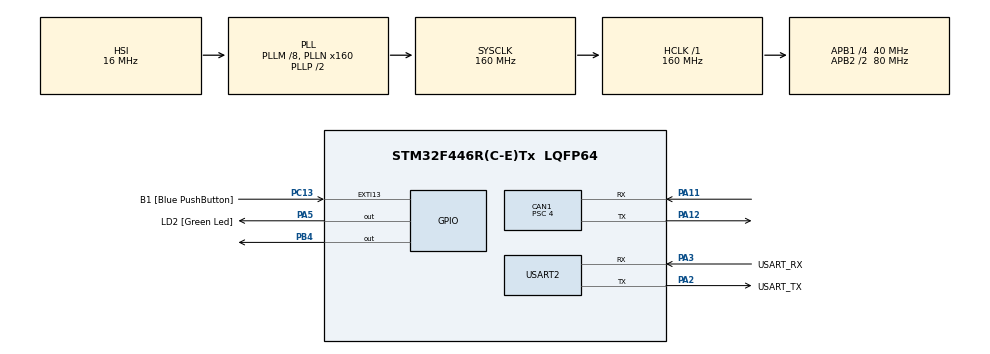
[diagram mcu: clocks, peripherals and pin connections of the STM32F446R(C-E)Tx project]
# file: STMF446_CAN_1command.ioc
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CAN1.BS1=CAN_BS1_7TQ
CAN1.BS2=CAN_BS2_2TQ
CAN1.CalculateBaudRate=1000000
CAN1.CalculateTimeBit=1000
CAN1.CalculateTimeQuantum=100.0
CAN1.Prescaler=4
Mcu.Family=STM32F4
Mcu.Name=STM32F446R(C-E)Tx
Mcu.Package=LQFP64
NVIC.CAN1_RX0_IRQn=true\:0\:0\:true\:false\:true\:true\:true\:true
NVIC.CAN1_TX_IRQn=true\:0\:0\:true\:false\:true\:true\:true\:true
NVIC.PriorityGroup=NVIC_PRIORITYGROUP_4
NVIC.USART2_IRQn=true\:0\:0\:false\:false\:true\:true\:true\:true
PA11.GPIO_Speed=GPIO_SPEED_FREQ_HIGH
PA11.Mode=CAN_Activate
PA11.Signal=CAN1_RX
PA12.GPIO_PuPd=GPIO_PULLUP
PA12.GPIO_Speed=GPIO_SPEED_FREQ_HIGH
PA12.Mode=CAN_Activate
PA12.Signal=CAN1_TX
PA13.GPIO_Label=TMS
PA13.Mode=Serial_Wire
PA13.Signal=SYS_JTMS-SWDIO
PA14.GPIO_Label=TCK
PA14.Mode=Serial_Wire
PA14.Signal=SYS_JTCK-SWCLK
PA2.GPIO_Label=USART_TX
PA2.Mode=Asynchronous
PA2.Signal=USART2_TX
PA3.GPIO_Label=USART_RX
PA3.Mode=Asynchronous
PA3.Signal=USART2_RX
PA5.GPIO_Label=LD2 [Green Led]
PA5.Signal=GPIO_Output
PB3.GPIO_Label=SWO
PB3.Signal=SYS_JTDO-SWO
PB4.Signal=GPIO_Output
PC13.GPIO_Label=B1 [Blue PushButton]
PC13.GPIO_ModeDefaultEXTI=GPIO_MODE_IT_FALLING
PC13.Signal=GPXTI13
PC14-OSC32_IN.Mode=LSE-External-Oscillator
PC14-OSC32_IN.Signal=RCC_OSC32_IN
PC15-OSC32_OUT.Mode=LSE-External-Oscillator
PC15-OSC32_OUT.Signal=RCC_OSC32_OUT
PH0-OSC_IN.Mode=HSE-External-Oscillator
PH0-OSC_IN.Signal=RCC_OSC_IN
PH1-OSC_OUT.Mode=HSE-External-Oscillator
PH1-OSC_OUT.Signal=RCC_OSC_OUT
ProjectManager.HeapSize=0x200
ProjectManager.StackSize=0x400
ProjectManager.TargetToolchain=STM32CubeIDE
RCC.48MHZClocksFreq_Value=84000000
RCC.AHBFreq_Value=160000000
RCC.APB1CLKDivider=RCC_HCLK_DIV4
RCC.APB1Freq_Value=40000000
RCC.APB1TimFreq_Value=80000000
RCC.APB2CLKDivider=RCC_HCLK_DIV2
RCC.APB2Freq_Value=80000000
RCC.APB2TimFreq_Value=160000000
RCC.CortexFreq_Value=160000000
RCC.FLatency-AdvancedSettings=FLASH_LATENCY_5
RCC.HCLKFreq_Value=160000000
RCC.HSE_VALUE=8000000
RCC.HSI_VALUE=16000000
RCC.PLLM=8
RCC.PLLN=160
RCC.SYSCLKFreq_VALUE=160000000
RCC.SYSCLKSource=RCC_SYSCLKSOURCE_PLLCLK
RCC.USBFreq_Value=160000000
RCC.VCOOutputFreq_Value=320000000
USART2.VirtualMode=VM_ASYNC
board=NUCLEO-F446RE

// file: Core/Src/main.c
/* USER CODE BEGIN Header */
/**
  ******************************************************************************
  * @file           : main.c
  * @brief          : Main program body
  ******************************************************************************
  * @attention
  *
  * Copyright (c) 2022 STMicroelectronics.
  * All rights reserved.
  *
  * This software is licensed under terms that can be found in the LICENSE file
  * in the root directory of this software component.
  * If no LICENSE file comes with this software, it is provided AS-IS.
  *
  ******************************************************************************
  */
/* USER CODE END Header */
#include "main.h"

/* USER CODE BEGIN Includes */
#include<stdio.h>
/* USER CODE END Includes */

 CAN_HandleTypeDef hcan1;

UART_HandleTypeDef huart2;

/* USER CODE BEGIN PV */
CAN_FilterTypeDef sFilterConfig;
CAN_TxHeaderTypeDef TxHeader;
CAN_RxHeaderTypeDef RxHeader;
uint8_t TxData[8];
uint8_t RxData[8];
uint32_t TxMailbox;
uint8_t cmd_data = 0x00;

/* USER CODE END PV */

void SystemClock_Config(void);
static void MX_GPIO_Init(void);
static void MX_USART2_UART_Init(void);
static void MX_CAN1_Init(void);

/* USER CODE BEGIN 0 */
uint8_t uart_data;
char tx_data[]="get_data\r\n";
int flag = 1;
/* USER CODE END 0 */

int main(void)
{
  /* USER CODE BEGIN 1 */

	sFilterConfig.FilterBank = 0;
	sFilterConfig.FilterMode = CAN_FILTERMODE_IDMASK;
	sFilterConfig.FilterScale = CAN_FILTERSCALE_32BIT;
	sFilterConfig.FilterIdHigh = 0x0000;
	sFilterConfig.FilterIdLow = 0x0000;
	sFilterConfig.FilterMaskIdHigh = 0x0000;
	sFilterConfig.FilterMaskIdLow = 0x0000;
	sFilterConfig.FilterFIFOAssignment = CAN_RX_FIFO0;
//	sFilterConfig.FilterFIFOAssignment =CAN_FILTER_FIFO0;
	sFilterConfig.FilterActivation=ENABLE;
	sFilterConfig.SlaveStartFilterBank=14;
	if(HAL_CAN_ConfigFilter(&hcan1,&sFilterConfig) != HAL_OK)
	{
		Error_Handler();
	}
	if(HAL_CAN_Start(&hcan1)!=HAL_OK)
	{
		Error_Handler();
	}

	if(HAL_CAN_ActivateNotification(&hcan1,CAN_IT_RX_FIFO0_MSG_PENDING | CAN_IT_TX_MAILBOX_EMPTY) != HAL_OK)
	{
		Error_Handler();
	}
//	HAL_CAN_ConfigFilter(&hcan1, &sFilterConfig);
//	HAL_CAN_Start(&hcan1);
//	HAL_CAN_ActivateNotification(&hcan1, CAN_IT_RX_FIFO0_MSG_PENDING);

	TxHeader.StdId=0x141;
	//TxHeader.ExtId=0x01;
	TxHeader.RTR = CAN_RTR_DATA;
	TxHeader.IDE = CAN_ID_STD;
	TxHeader.DLC = 8;
	TxHeader.TransmitGlobalTime = DISABLE;
	TxData[0] = 0xA4;
	TxData[1] = 0x0F;
	TxData[2] = 0x00;
	TxData[3] = 0x64;
	TxData[4] = 0x50;
	TxData[5] = 0x46;
	TxData[6] = 0x00;
	TxData[7] = 0x00;
	if (HAL_CAN_AddTxMessage(&hcan1, &TxHeader, TxData, &TxMailbox) != HAL_OK)
	{
	   Error_Handler ();
	}
//	printf("MailBox:%ld",HAL_CAN_GetTxMailboxesFreeLevel);
	HAL_CAN_AddTxMessage(&hcan1,&TxHeader,TxData,&TxMailbox);
	HAL_Delay(100);

  /* USER CODE END 1 */

  /* MCU Configuration--------------------------------------------------------*/

  /* Reset of all peripherals, Initializes the Flash interface and the Systick. */
  HAL_Init();

  /* Configure the system clock */
  SystemClock_Config();

  /* Initialize all configured peripherals */
  MX_GPIO_Init();
  MX_USART2_UART_Init();
  MX_CAN1_Init();

  /* Infinite loop */
  while (1)
  {

    /* USER CODE BEGIN 3 */
	  HAL_CAN_AddTxMessage(&hcan1,&TxHeader,TxData,&TxMailbox);
	  HAL_Delay(100);

  }
  /* USER CODE END 3 */
}

void SystemClock_Config(void)
{
  RCC_OscInitTypeDef RCC_OscInitStruct = {0};
  RCC_ClkInitTypeDef RCC_ClkInitStruct = {0};

  /** Configure the main internal regulator output voltage
  */
  __HAL_RCC_PWR_CLK_ENABLE();
  __HAL_PWR_VOLTAGESCALING_CONFIG(PWR_REGULATOR_VOLTAGE_SCALE1);

  /** Initializes the RCC Oscillators according to the specified parameters
  * in the RCC_OscInitTypeDef structure.
  */
  RCC_OscInitStruct.OscillatorType = RCC_OSCILLATORTYPE_HSI;
  RCC_OscInitStruct.HSIState = RCC_HSI_ON;
  RCC_OscInitStruct.HSICalibrationValue = RCC_HSICALIBRATION_DEFAULT;
  RCC_OscInitStruct.PLL.PLLState = RCC_PLL_ON;
  RCC_OscInitStruct.PLL.PLLSource = RCC_PLLSOURCE_HSI;
  RCC_OscInitStruct.PLL.PLLM = 8;
  RCC_OscInitStruct.PLL.PLLN = 160;
  RCC_OscInitStruct.PLL.PLLP = RCC_PLLP_DIV2;
  RCC_OscInitStruct.PLL.PLLQ = 2;
  RCC_OscInitStruct.PLL.PLLR = 2;
  if (HAL_RCC_OscConfig(&RCC_OscInitStruct) != HAL_OK)
  {
    Error_Handler();
  }

  /** Initializes the CPU, AHB and APB buses clocks
  */
  RCC_ClkInitStruct.ClockType = RCC_CLOCKTYPE_HCLK|RCC_CLOCKTYPE_SYSCLK
                              |RCC_CLOCKTYPE_PCLK1|RCC_CLOCKTYPE_PCLK2;
  RCC_ClkInitStruct.SYSCLKSource = RCC_SYSCLKSOURCE_PLLCLK;
  RCC_ClkInitStruct.AHBCLKDivider = RCC_SYSCLK_DIV1;
  RCC_ClkInitStruct.APB1CLKDivider = RCC_HCLK_DIV4;
  RCC_ClkInitStruct.APB2CLKDivider = RCC_HCLK_DIV2;

  if (HAL_RCC_ClockConfig(&RCC_ClkInitStruct, FLASH_LATENCY_5) != HAL_OK)
  {
    Error_Handler();
  }
}

static void MX_CAN1_Init(void)
{

  hcan1.Instance = CAN1;
  hcan1.Init.Prescaler = 4;
  hcan1.Init.Mode = CAN_MODE_NORMAL;
  hcan1.Init.SyncJumpWidth = CAN_SJW_1TQ;
  hcan1.Init.TimeSeg1 = CAN_BS1_7TQ;
  hcan1.Init.TimeSeg2 = CAN_BS2_2TQ;
  hcan1.Init.TimeTriggeredMode = DISABLE;
  hcan1.Init.AutoBusOff = DISABLE;
  hcan1.Init.AutoWakeUp = DISABLE;
  hcan1.Init.AutoRetransmission = DISABLE;
  hcan1.Init.ReceiveFifoLocked = DISABLE;
  hcan1.Init.TransmitFifoPriority = DISABLE;
  if (HAL_CAN_Init(&hcan1) != HAL_OK)
  {
    Error_Handler();
  }

}

static void MX_USART2_UART_Init(void)
{

  huart2.Instance = USART2;
  huart2.Init.BaudRate = 115200;
  huart2.Init.WordLength = UART_WORDLENGTH_8B;
  huart2.Init.StopBits = UART_STOPBITS_1;
  huart2.Init.Parity = UART_PARITY_NONE;
  huart2.Init.Mode = UART_MODE_TX_RX;
  huart2.Init.HwFlowCtl = UART_HWCONTROL_NONE;
  huart2.Init.OverSampling = UART_OVERSAMPLING_16;
  if (HAL_UART_Init(&huart2) != HAL_OK)
  {
    Error_Handler();
  }

}

static void MX_GPIO_Init(void)
{
  GPIO_InitTypeDef GPIO_InitStruct = {0};

  /* GPIO Ports Clock Enable */
  __HAL_RCC_GPIOC_CLK_ENABLE();
  __HAL_RCC_GPIOH_CLK_ENABLE();
  __HAL_RCC_GPIOA_CLK_ENABLE();
  __HAL_RCC_GPIOB_CLK_ENABLE();

  /*Configure GPIO pin Output Level */
  HAL_GPIO_WritePin(LD2_GPIO_Port, LD2_Pin, GPIO_PIN_RESET);

  /*Configure GPIO pin Output Level */
  HAL_GPIO_WritePin(GPIOB, GPIO_PIN_4, GPIO_PIN_RESET);

  /*Configure GPIO pin : B1_Pin */
  GPIO_InitStruct.Pin = B1_Pin;
  GPIO_InitStruct.Mode = GPIO_MODE_IT_FALLING;
  GPIO_InitStruct.Pull = GPIO_NOPULL;
  HAL_GPIO_Init(B1_GPIO_Port, &GPIO_InitStruct);

  /*Configure GPIO pin : LD2_Pin */
  GPIO_InitStruct.Pin = LD2_Pin;
  GPIO_InitStruct.Mode = GPIO_MODE_OUTPUT_PP;
  GPIO_InitStruct.Pull = GPIO_NOPULL;
  GPIO_InitStruct.Speed = GPIO_SPEED_FREQ_LOW;
  HAL_GPIO_Init(LD2_GPIO_Port, &GPIO_InitStruct);

  /*Configure GPIO pin : PB4 */
  GPIO_InitStruct.Pin = GPIO_PIN_4;
  GPIO_InitStruct.Mode = GPIO_MODE_OUTPUT_PP;
  GPIO_InitStruct.Pull = GPIO_NOPULL;
  GPIO_InitStruct.Speed = GPIO_SPEED_FREQ_LOW;
  HAL_GPIO_Init(GPIOB, &GPIO_InitStruct);

}

/* USER CODE BEGIN 4 */
//int _write(int file, char *ptr, int len)	//printfに必要
//{
//  HAL_UART_Transmit(&huart2,(uint8_t *)ptr,len,10);
//  return len;
//}
//void HAL_UART_RxCpltCallback(UART_HandleTypeDef*UartHandle)
//{
//
//	HAL_UART_Transmit(&huart2,UART1_Data,1,1000);	//1byte受け取ったら次へ
//	get_uart_flag=1;
//}
void HAL_CAN_TxMailbox0CompleteCallack(CAN_HandleTypeDef *hcan)
{
	  HAL_GPIO_WritePin(GPIOA,GPIO_PIN_5,1);
}

void HAL_CAN_RxFifo0MsgPendingCallback(CAN_HandleTypeDef *hcan_)
{
//  HAL_UART_Transmit(&huart2, tx_data, 10,3000);
  HAL_CAN_GetRxMessage(&hcan1,CAN_RX_FIFO0, &RxHeader,RxData);
//  HAL_UART_Transmit(&huart2,RxData,1,3000);
  flag *= -1;
  if(flag >0){
	  HAL_GPIO_WritePin(GPIOA,GPIO_PIN_5,1);
  }else{
	  HAL_GPIO_WritePin(GPIOA,GPIO_PIN_5,0);
  }
}

/* USER CODE END 4 */

void Error_Handler(void)
{
  __disable_irq();
  while (1)
  {
  }
}
